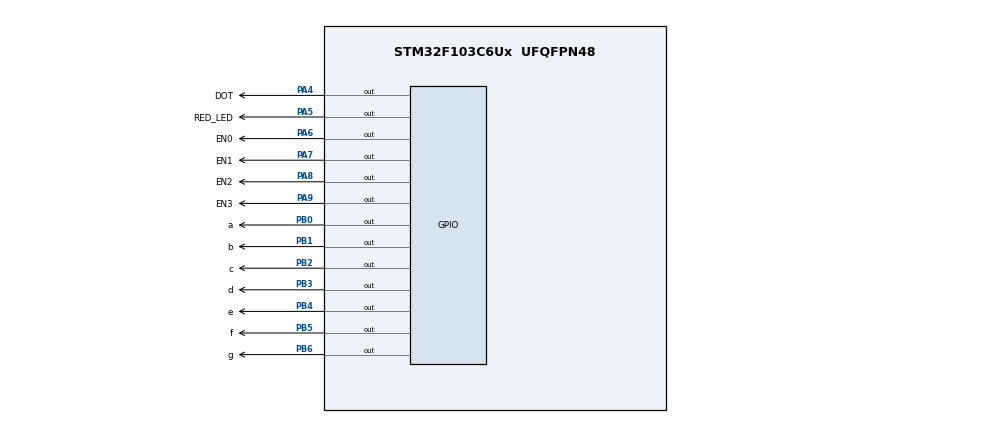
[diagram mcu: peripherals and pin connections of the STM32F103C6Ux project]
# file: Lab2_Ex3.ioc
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Mcu.Family=STM32F1
Mcu.Name=STM32F103C6Ux
Mcu.Package=UFQFPN48
NVIC.PriorityGroup=NVIC_PRIORITYGROUP_4
NVIC.TIM2_IRQn=true\:0\:0\:false\:false\:true\:true\:true
PA4.GPIO_Label=DOT
PA4.Signal=GPIO_Output
PA5.GPIO_Label=RED_LED
PA5.Signal=GPIO_Output
PA6.GPIO_Label=EN0
PA6.Signal=GPIO_Output
PA7.GPIO_Label=EN1
PA7.Signal=GPIO_Output
PA8.GPIO_Label=EN2
PA8.Signal=GPIO_Output
PA9.GPIO_Label=EN3
PA9.Signal=GPIO_Output
PB0.GPIO_Label=a
PB0.Signal=GPIO_Output
PB1.GPIO_Label=b
PB1.Signal=GPIO_Output
PB2.GPIO_Label=c
PB2.Signal=GPIO_Output
PB3.GPIO_Label=d
PB3.Signal=GPIO_Output
PB4.GPIO_Label=e
PB4.Signal=GPIO_Output
PB5.GPIO_Label=f
PB5.Signal=GPIO_Output
PB6.GPIO_Label=g
PB6.Signal=GPIO_Output
ProjectManager.HeapSize=0x200
ProjectManager.StackSize=0x400
ProjectManager.TargetToolchain=STM32CubeIDE
RCC.APB1Freq_Value=8000000
RCC.APB2Freq_Value=8000000
TIM2.Period=9
TIM2.Prescaler=7999
VP_SYS_VS_ND.Mode=No_Debug
VP_TIM2_VS_ClockSourceINT.Mode=Internal
board=custom

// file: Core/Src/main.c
/* USER CODE BEGIN Header */
/**
  ******************************************************************************
  * @file           : main.c
  * @brief          : Main program body
  ******************************************************************************
  * @attention
  *
  * <h2><center>&copy; Copyright (c) 2022 STMicroelectronics.
  * All rights reserved.</center></h2>
  *
  * This software component is licensed by ST under BSD 3-Clause license,
  * the "License"; You may not use this file except in compliance with the
  * License. You may obtain a copy of the License at:
  *                        opensource.org/licenses/BSD-3-Clause
  *
  ******************************************************************************
  */
/* USER CODE END Header */
#include "main.h"

TIM_HandleTypeDef htim2;

void SystemClock_Config(void);
static void MX_GPIO_Init(void);
static void MX_TIM2_Init(void);

/* USER CODE BEGIN 0 */
 void display7SEG(int);
 void update7SEG(int);
 const int MAX_LED = 4;
 int index_led = 0;
 int led_buffer[4] = {1, 0, 3, 4};
 //display number at led_buffer[index]
 void update7SEG(int index){
     switch (index){
         case 0:
             display7SEG(led_buffer[0]);
             break;
         case 1:
         	display7SEG(led_buffer[1]);
             break;
         case 2:
         	display7SEG(led_buffer[2]);
             break;
         case 3:
         	display7SEG(led_buffer[3]);
             break;
         default:
             break;
     }
 }
/* USER CODE END 0 */

int main(void)
{

  /* MCU Configuration--------------------------------------------------------*/

  /* Reset of all peripherals, Initializes the Flash interface and the Systick. */
  HAL_Init();

  /* Configure the system clock */
  SystemClock_Config();

  /* Initialize all configured peripherals */
  MX_GPIO_Init();
  MX_TIM2_Init();
  /* USER CODE BEGIN 2 */
  HAL_TIM_Base_Start_IT(&htim2);
  /* USER CODE END 2 */

  /* Infinite loop */
  while (1)
  {

  }
}

void SystemClock_Config(void)
{
  RCC_OscInitTypeDef RCC_OscInitStruct = {0};
  RCC_ClkInitTypeDef RCC_ClkInitStruct = {0};

  /** Initializes the RCC Oscillators according to the specified parameters
  * in the RCC_OscInitTypeDef structure.
  */
  RCC_OscInitStruct.OscillatorType = RCC_OSCILLATORTYPE_HSI;
  RCC_OscInitStruct.HSIState = RCC_HSI_ON;
  RCC_OscInitStruct.HSICalibrationValue = RCC_HSICALIBRATION_DEFAULT;
  RCC_OscInitStruct.PLL.PLLState = RCC_PLL_NONE;
  if (HAL_RCC_OscConfig(&RCC_OscInitStruct) != HAL_OK)
  {
    Error_Handler();
  }
  /** Initializes the CPU, AHB and APB buses clocks
  */
  RCC_ClkInitStruct.ClockType = RCC_CLOCKTYPE_HCLK|RCC_CLOCKTYPE_SYSCLK
                              |RCC_CLOCKTYPE_PCLK1|RCC_CLOCKTYPE_PCLK2;
  RCC_ClkInitStruct.SYSCLKSource = RCC_SYSCLKSOURCE_HSI;
  RCC_ClkInitStruct.AHBCLKDivider = RCC_SYSCLK_DIV1;
  RCC_ClkInitStruct.APB1CLKDivider = RCC_HCLK_DIV1;
  RCC_ClkInitStruct.APB2CLKDivider = RCC_HCLK_DIV1;

  if (HAL_RCC_ClockConfig(&RCC_ClkInitStruct, FLASH_LATENCY_0) != HAL_OK)
  {
    Error_Handler();
  }
}

static void MX_TIM2_Init(void)
{

  TIM_ClockConfigTypeDef sClockSourceConfig = {0};
  TIM_MasterConfigTypeDef sMasterConfig = {0};

  htim2.Instance = TIM2;
  htim2.Init.Prescaler = 7999;
  htim2.Init.CounterMode = TIM_COUNTERMODE_UP;
  htim2.Init.Period = 9;
  htim2.Init.ClockDivision = TIM_CLOCKDIVISION_DIV1;
  htim2.Init.AutoReloadPreload = TIM_AUTORELOAD_PRELOAD_DISABLE;
  if (HAL_TIM_Base_Init(&htim2) != HAL_OK)
  {
    Error_Handler();
  }
  sClockSourceConfig.ClockSource = TIM_CLOCKSOURCE_INTERNAL;
  if (HAL_TIM_ConfigClockSource(&htim2, &sClockSourceConfig) != HAL_OK)
  {
    Error_Handler();
  }
  sMasterConfig.MasterOutputTrigger = TIM_TRGO_RESET;
  sMasterConfig.MasterSlaveMode = TIM_MASTERSLAVEMODE_DISABLE;
  if (HAL_TIMEx_MasterConfigSynchronization(&htim2, &sMasterConfig) != HAL_OK)
  {
    Error_Handler();
  }

}

static void MX_GPIO_Init(void)
{
  GPIO_InitTypeDef GPIO_InitStruct = {0};

  /* GPIO Ports Clock Enable */
  __HAL_RCC_GPIOA_CLK_ENABLE();
  __HAL_RCC_GPIOB_CLK_ENABLE();

  /*Configure GPIO pin Output Level */
  HAL_GPIO_WritePin(GPIOA, DOT_Pin|RED_LED_Pin|EN0_Pin|EN1_Pin
                          |EN2_Pin|EN3_Pin, GPIO_PIN_RESET);

  /*Configure GPIO pin Output Level */
  HAL_GPIO_WritePin(GPIOB, a_Pin|b_Pin|c_Pin|d_Pin
                          |e_Pin|f_Pin|g_Pin, GPIO_PIN_RESET);

  /*Configure GPIO pins : DOT_Pin RED_LED_Pin EN0_Pin EN1_Pin
                           EN2_Pin EN3_Pin */
  GPIO_InitStruct.Pin = DOT_Pin|RED_LED_Pin|EN0_Pin|EN1_Pin
                          |EN2_Pin|EN3_Pin;
  GPIO_InitStruct.Mode = GPIO_MODE_OUTPUT_PP;
  GPIO_InitStruct.Pull = GPIO_NOPULL;
  GPIO_InitStruct.Speed = GPIO_SPEED_FREQ_LOW;
  HAL_GPIO_Init(GPIOA, &GPIO_InitStruct);

  /*Configure GPIO pins : a_Pin b_Pin c_Pin d_Pin
                           e_Pin f_Pin g_Pin */
  GPIO_InitStruct.Pin = a_Pin|b_Pin|c_Pin|d_Pin
                          |e_Pin|f_Pin|g_Pin;
  GPIO_InitStruct.Mode = GPIO_MODE_OUTPUT_PP;
  GPIO_InitStruct.Pull = GPIO_NOPULL;
  GPIO_InitStruct.Speed = GPIO_SPEED_FREQ_LOW;
  HAL_GPIO_Init(GPIOB, &GPIO_InitStruct);

}

/* USER CODE BEGIN 4 */
int ledCounter = 100;		//control 2 led DOT
int ledFlag = 0;

int sevenSegCounter = 25;		//control 4 seven_seg led
int sevenSegFlag = 1;
void HAL_TIM_PeriodElapsedCallback(TIM_HandleTypeDef *htim){
	ledCounter = ledCounter - 1;
	if(ledCounter<=0){
		ledCounter = 100;		//period = 1s
		if(ledFlag == 0){		//led off
			HAL_GPIO_WritePin(DOT_GPIO_Port, DOT_Pin, GPIO_PIN_SET);
		}
		if(ledFlag == 1){		//led on
			HAL_GPIO_WritePin(DOT_GPIO_Port, DOT_Pin, GPIO_PIN_RESET);
		}
		ledFlag = 1 - ledFlag;			//toggle flag state
	}

	sevenSegCounter = sevenSegCounter - 1;
	if(sevenSegCounter<=0){
		sevenSegCounter = 25;		//switch 7seg led every 0.25s
		update7SEG(index_led++);

		if(index_led>=MAX_LED){
			index_led = 0;
		}
		switch(sevenSegFlag)
			{
			case 1:
					HAL_GPIO_WritePin(EN0_GPIO_Port, EN0_Pin, GPIO_PIN_RESET);
					HAL_GPIO_WritePin(EN1_GPIO_Port, EN1_Pin, GPIO_PIN_SET);
					HAL_GPIO_WritePin(EN2_GPIO_Port, EN2_Pin, GPIO_PIN_SET);
					HAL_GPIO_WritePin(EN3_GPIO_Port, EN3_Pin, GPIO_PIN_SET);
					break;
			case 2:
					HAL_GPIO_WritePin(EN0_GPIO_Port, EN0_Pin, GPIO_PIN_SET);
					HAL_GPIO_WritePin(EN1_GPIO_Port, EN1_Pin, GPIO_PIN_RESET);
					HAL_GPIO_WritePin(EN2_GPIO_Port, EN2_Pin, GPIO_PIN_SET);
					HAL_GPIO_WritePin(EN3_GPIO_Port, EN3_Pin, GPIO_PIN_SET);
					break;
			case 3:
					HAL_GPIO_WritePin(EN0_GPIO_Port, EN0_Pin, GPIO_PIN_SET);
					HAL_GPIO_WritePin(EN1_GPIO_Port, EN1_Pin, GPIO_PIN_SET);
					HAL_GPIO_WritePin(EN2_GPIO_Port, EN2_Pin, GPIO_PIN_RESET);
					HAL_GPIO_WritePin(EN3_GPIO_Port, EN3_Pin, GPIO_PIN_SET);
					break;
			case 4:
					HAL_GPIO_WritePin(EN0_GPIO_Port, EN0_Pin, GPIO_PIN_SET);
					HAL_GPIO_WritePin(EN1_GPIO_Port, EN1_Pin, GPIO_PIN_SET);
					HAL_GPIO_WritePin(EN2_GPIO_Port, EN2_Pin, GPIO_PIN_SET);
					HAL_GPIO_WritePin(EN3_GPIO_Port, EN3_Pin, GPIO_PIN_RESET);
					break;

			}
			//change between 4 led
			sevenSegFlag = sevenSegFlag + 1;
			if(sevenSegFlag>4){
				sevenSegFlag = 1;
			}
	}
}

void display7SEG(int num)
{
	if(num==0 || num==2 || num==3 || num==5 || num==6
			|| num==7 || num==8 || num==9){
		HAL_GPIO_WritePin(a_GPIO_Port, a_Pin, GPIO_PIN_RESET);
	}
	else HAL_GPIO_WritePin(a_GPIO_Port, a_Pin, GPIO_PIN_SET);

	if(num==0 || num==1 || num==2 || num==3 || num==4
		|| num==7 || num==8 || num==9){
		HAL_GPIO_WritePin(b_GPIO_Port, b_Pin, GPIO_PIN_RESET);
	}
	else HAL_GPIO_WritePin(b_GPIO_Port, b_Pin, GPIO_PIN_SET);

	if(num==0 || num==1 || num==3 || num==4 || num==5 || num==6
			|| num==7 || num==8 || num==9){
		HAL_GPIO_WritePin(c_GPIO_Port, c_Pin, GPIO_PIN_RESET);
	}
	else HAL_GPIO_WritePin(c_GPIO_Port, c_Pin, GPIO_PIN_SET);

	if(num==0 || num==2 || num==3 || num==5 || num==6 || num==8 ||num==9){
		HAL_GPIO_WritePin(d_GPIO_Port, d_Pin, GPIO_PIN_RESET);
	}
	else HAL_GPIO_WritePin(d_GPIO_Port, d_Pin, GPIO_PIN_SET);

	if(num==0 || num==2 || num==6 || num==8){
		HAL_GPIO_WritePin(e_GPIO_Port, e_Pin, GPIO_PIN_RESET);
	}
	else HAL_GPIO_WritePin(e_GPIO_Port, e_Pin, GPIO_PIN_SET);

	if(num==0 || num==4 || num==5 || num==6 || num==8 ||num==9){
		HAL_GPIO_WritePin(f_GPIO_Port, f_Pin, GPIO_PIN_RESET);
	}
	else HAL_GPIO_WritePin(f_GPIO_Port, f_Pin, GPIO_PIN_SET);

	if(num==2 || num==3 || num==4 || num==5 || num==6 || num==8 || num==9){
		HAL_GPIO_WritePin(g_GPIO_Port, g_Pin, GPIO_PIN_RESET);
	}
	else HAL_GPIO_WritePin(g_GPIO_Port, g_Pin, GPIO_PIN_SET);

}
/* USER CODE END 4 */

void Error_Handler(void)
{
  __disable_irq();
  while (1)
  {
  }
}

/************************ (C) COPYRIGHT STMicroelectronics *****END OF FILE****/
